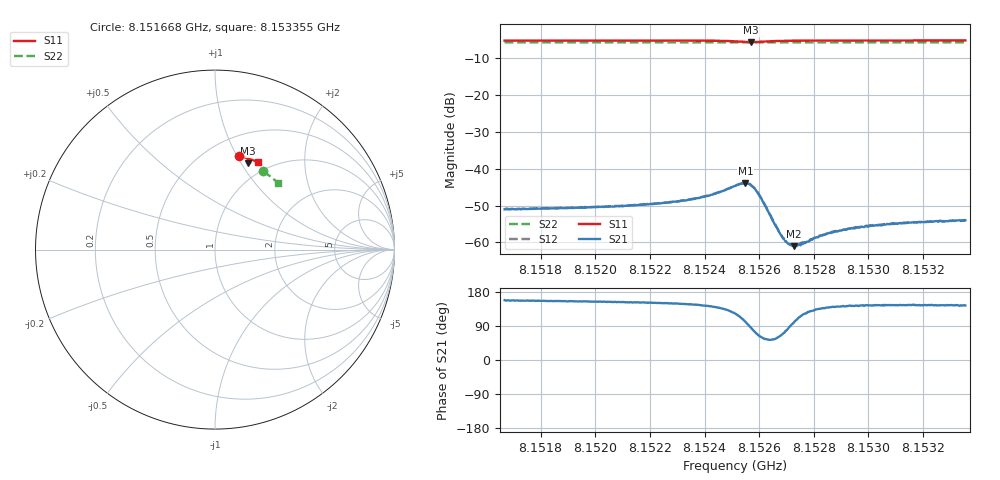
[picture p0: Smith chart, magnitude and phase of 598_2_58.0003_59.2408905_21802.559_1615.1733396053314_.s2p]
#  HZ  S  RI  R  50.00
! Rohde & Schwarz Vector Network Analyzer
! Rohde-Schwarz,ZNB20-2Port,1311601062101988,3.16
! Created: UTC 3/21/2024, 1:17:06 AM
! freq[Hz]  re:S11  im:S11  re:S21  im:S21  re:S12  im:S12  re:S22  im:S22
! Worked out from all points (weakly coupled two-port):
!   401 points, 8.151668 GHz to 8.153355 GHz, reference 50 ohm
!   highest |S21| = -43.95 dB at 8.152549 GHz (marker M1); lowest = -61.0 dB at 8.152727 GHz (marker M2)
!   lowest |S11| = -5.8 dB at 8.152571 GHz (marker M3), VSWR 3.12, Z = 41.1 + j53.7 ohm
!   |S11| at or under -10 dB: nowhere
!   |S22| runs from -5.8 to -5.8 dB; largest |S21 - S12| = 0.00013
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8.1516682e9  0.1353 0.523  -0.0026 0.00106  -0.00263 0.00115  0.2695 0.4357
8.1519507e9  0.1551 0.5177  -0.00267 0.00128  -0.0027 0.00133  0.2844 0.4256
8.152111e9  0.1664 0.5144  -0.00276 0.00146  -0.00281 0.00151  0.2927 0.4197
8.1522332e9  0.1756 0.5111  -0.00295 0.00166  -0.00293 0.00173  0.2991 0.415
8.1523808e9  0.1876 0.5055  -0.00327 0.00228  -0.0033 0.00236  0.3066 0.409
8.1524567e9  0.1948 0.4995  -0.00353 0.00328  -0.00353 0.00336  0.3104 0.406
8.1525115e9  0.1981 0.4903  -0.00315 0.00488  -0.00311 0.005  0.3128 0.4035
8.1525495e9  0.1925 0.4813  -0.00123 0.00623  -0.00116 0.0063  0.3144 0.4019
8.1525705e9  0.1851 0.4805  0.000556 0.00589  0.000629 0.00593  0.3152 0.4011
8.1525874e9  0.1803 0.4842  0.00161 0.00487  0.00169 0.00488  0.3158 0.4005
8.1526043e9  0.1786 0.4892  0.00196 0.00364  0.00201 0.00364  0.3166 0.4001
8.1526802e9  0.1878 0.5011  0.000521 0.00113  0.000557 0.00116  0.3207 0.3975
8.1526928e9  0.1897 0.5014  0.000331 0.00105  0.000355 0.00103  0.3215 0.397
8.1527055e9  0.1912 0.5016  0.000122 0.000955  0.00014 0.000967  0.3221 0.3965
8.1527265e9  0.1939 0.5017  -0.000133 0.000886  -0.000136 0.000896  0.3231 0.3956
8.1527434e9  0.1958 0.5016  -0.000335 0.000867  -0.000311 0.000858  0.324 0.3949
8.152794e9  0.2009 0.5009  -0.000697 0.000844  -0.000693 0.000851  0.3264 0.3928
8.1528277e9  0.204 0.5002  -0.000897 0.000858  -0.000896 0.000884  0.3281 0.3913
8.1528741e9  0.2077 0.4992  -0.00106 0.00089  -0.00108 0.000931  0.3305 0.3896
8.1529669e9  0.2148 0.4968  -0.00128 0.000949  -0.00129 0.000987  0.3349 0.3856
8.1530765e9  0.2227 0.4938  -0.00144 0.00102  -0.00144 0.00104  0.3399 0.3807
8.1533548e9  0.2412 0.4856  -0.00161 0.00118  -0.0016 0.00122  0.3526 0.3685
